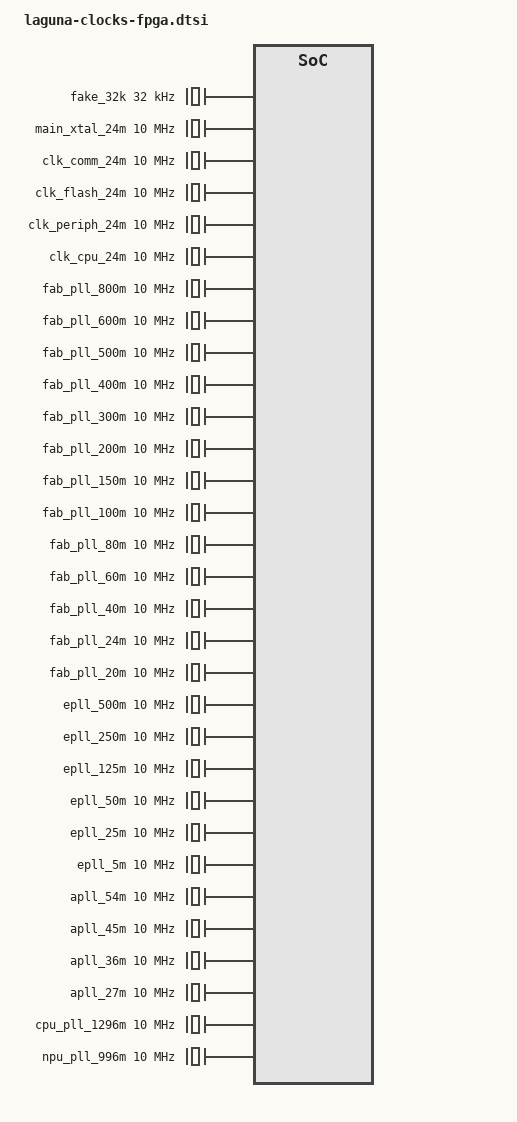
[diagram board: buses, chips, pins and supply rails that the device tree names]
/* SPDX-License-Identifier: GPL-2.0+
 *
 * Device Tree Source for Laguna main domain FPGA clock tree
 *
 * Copyright (C) 2024 Charleye <wangkart@aliyun.com>
 */

/ {
	main_clocks {
		compatible = "simple-bus";
		#address-cells = <2>;
		#size-cells = <2>;

		fake_32k: fake_32k {
			compatible = "fixed-clock";
			#clock-cells = <0>;
			clock-frequency = <32000>;
			clock-output-names = "fake_32k";
		};

		main_xtal_24m: main_xtal_24m {
			compatible = "fixed-clock";
			#clock-cells = <0>;
			clock-frequency = <10000000>;
			clock-output-names = "main_xtal_24m";
		};

		clk_comm_24m: clk_comm_24m {
			compatible = "fixed-clock";
			#clock-cells = <0>;
			clock-frequency = <10000000>;
			clock-output-names = "clk_comm_24m";
		};

		clk_flash_24m: clk_flash_24m {
			compatible = "fixed-clock";
			#clock-cells = <0>;
			clock-frequency = <10000000>;
			clock-output-names = "clk_flash_24m";
		};

		clk_periph_24m: clk_periph_24m {
			compatible = "fixed-clock";
			#clock-cells = <0>;
			clock-frequency = <10000000>;
			clock-output-names = "clk_periph_24m";
		};

		clk_cpu_24m: clk_cpu_24m {
			compatible = "fixed-clock";
			#clock-cells = <0>;
			clock-frequency = <10000000>;
			clock-output-names = "clk_cpu_24m";
		};

		clk_periph_emac_ptp_div2: clk_periph_emac_ptp_div2 {
			compatible = "fixed-clock";
			#clock-cells = <0>;
			clock-frequency = <10000000>;
			clock-output-names = "clk_periph_emac_ptp_div2";
		};

		tclk_sen_timestamp1: tclk_sen_timestamp1 {
			compatible = "fixed-clock";
			#clock-cells = <0>;
			clock-frequency = <10000000>;
			clock-output-names = "tclk_sen_timestamp1";
		};

		fab_pll_800m: fab_pll_800m {
			compatible = "fixed-clock";
			#clock-cells = <0>;
			clock-frequency = <10000000>;
			clock-output-names = "fab_pll_800m";
		};

		fab_pll_600m: fab_pll_600m {
			compatible = "fixed-clock";
			#clock-cells = <0>;
			clock-frequency = <10000000>;
			clock-output-names = "fab_pll_600m";
		};

		fab_pll_500m: fab_pll_500m {
			compatible = "fixed-clock";
			#clock-cells = <0>;
			clock-frequency = <10000000>;
			clock-output-names = "fab_pll_500m";
		};

		fab_pll_400m: fab_pll_400m {
			compatible = "fixed-clock";
			#clock-cells = <0>;
			clock-frequency = <10000000>;
			clock-output-names = "fab_pll_400m";
		};

		fab_pll_300m: fab_pll_300m {
			compatible = "fixed-clock";
			#clock-cells = <0>;
			clock-frequency = <10000000>;
			clock-output-names = "fab_pll_300m";
		};

		fab_pll_200m: fab_pll_200m {
			compatible = "fixed-clock";
			#clock-cells = <0>;
			clock-frequency = <10000000>;
			clock-output-names = "fab_pll_200m";
		};

		fab_pll_150m: fab_pll_150m {
			compatible = "fixed-clock";
			#clock-cells = <0>;
			clock-frequency = <10000000>;
			clock-output-names = "fab_pll_150m";
		};

		fab_pll_100m: fab_pll_100m {
			compatible = "fixed-clock";
			#clock-cells = <0>;
			clock-frequency = <10000000>;
			clock-output-names = "fab_pll_100m";
		};

		fab_pll_80m: fab_pll_80m {
			compatible = "fixed-clock";
			#clock-cells = <0>;
			clock-frequency = <10000000>;
			clock-output-names = "fab_pll_80m";
		};

		fab_pll_60m: fab_pll_60m {
			compatible = "fixed-clock";
			#clock-cells = <0>;
			clock-frequency = <10000000>;
			clock-output-names = "fab_pll_60m";
		};

		fab_pll_40m: fab_pll_40m {
			compatible = "fixed-clock";
			#clock-cells = <0>;
			clock-frequency = <10000000>;
			clock-output-names = "fab_pll_40m";
		};

		fab_pll_24m: fab_pll_24m {
			compatible = "fixed-clock";
			#clock-cells = <0>;
			clock-frequency = <10000000>;
			clock-output-names = "fab_pll_24m";
		};

		fab_pll_20m: fab_pll_20m {
			compatible = "fixed-clock";
			#clock-cells = <0>;
			clock-frequency = <10000000>;
			clock-output-names = "fab_pll_20m";
		};

		epll_500m: epll_500m {
			compatible = "fixed-clock";
			#clock-cells = <0>;
			clock-frequency = <10000000>;
			clock-output-names = "epll_500m";
		};

		epll_250m: epll_250m {
			compatible = "fixed-clock";
			#clock-cells = <0>;
			clock-frequency = <10000000>;
			clock-output-names = "epll_250m";
		};

		epll_125m: epll_125m {
			compatible = "fixed-clock";
			#clock-cells = <0>;
			clock-frequency = <10000000>;
			clock-output-names = "epll_125m";
		};

		epll_50m: epll_50m {
			compatible = "fixed-clock";
			#clock-cells = <0>;
			clock-frequency = <10000000>;
			clock-output-names = "epll_50m";
		};

		epll_25m: epll_25m {
			compatible = "fixed-clock";
			#clock-cells = <0>;
			clock-frequency = <10000000>;
			clock-output-names = "epll_25m";
		};

		epll_5m: epll_5m {
			compatible = "fixed-clock";
			#clock-cells = <0>;
			clock-frequency = <10000000>;
			clock-output-names = "epll_5m";
		};

		apll_54m: apll_54m {
			compatible = "fixed-clock";
			#clock-cells = <0>;
			clock-frequency = <10000000>;
			clock-output-names = "apll_54m";
		};

		apll_45m: apll_45m {
			compatible = "fixed-clock";
			#clock-cells = <0>;
			clock-frequency = <10000000>;
			clock-output-names = "apll_45m";
		};

		apll_36m: apll_36m {
			compatible = "fixed-clock";
			#clock-cells = <0>;
			clock-frequency = <10000000>;
			clock-output-names = "apll_36m";
		};

		apll_27m: apll_27m {
			compatible = "fixed-clock";
			#clock-cells = <0>;
			clock-frequency = <10000000>;
			clock-output-names = "apll_27m";
		};

		cpu_pll_1296m: cpu_pll_1296m {
			compatible = "fixed-clock";
			#clock-cells = <0>;
			clock-frequency = <10000000>;
			clock-output-names = "cpu_pll_1296m";
		};

		npu_pll_996m: npu_pll_996m {
			compatible = "fixed-clock";
			#clock-cells = <0>;
			clock-frequency = <10000000>;
			clock-output-names = "npu_pll_996m";
		};
	};
};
